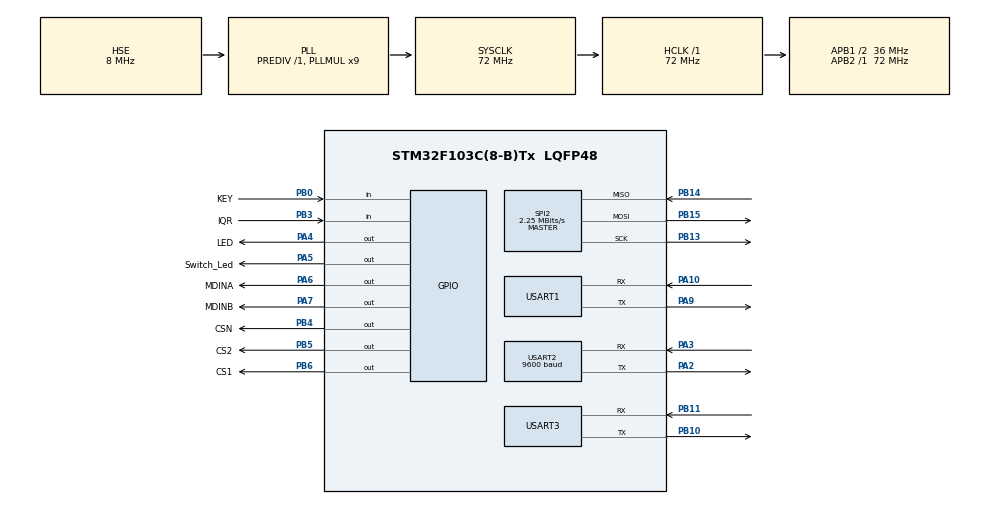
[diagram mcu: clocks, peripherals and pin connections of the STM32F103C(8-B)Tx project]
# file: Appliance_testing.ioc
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Dma.Request0=USART1_RX
Dma.USART1_RX.0.Direction=DMA_PERIPH_TO_MEMORY
Dma.USART1_RX.0.Instance=DMA1_Channel5
Dma.USART1_RX.0.MemDataAlignment=DMA_MDATAALIGN_BYTE
Dma.USART1_RX.0.MemInc=DMA_MINC_ENABLE
Dma.USART1_RX.0.Mode=DMA_NORMAL
Dma.USART1_RX.0.PeriphDataAlignment=DMA_PDATAALIGN_BYTE
Dma.USART1_RX.0.PeriphInc=DMA_PINC_DISABLE
Dma.USART1_RX.0.Priority=DMA_PRIORITY_LOW
FREERTOS.Events01=myEvent01,Dynamic,NULL
FREERTOS.INCLUDE_xEventGroupSetBitFromISR=1
FREERTOS.Mutexes01=SPIMutex,Dynamic,NULL
FREERTOS.Queues01=HLW8110_Data,5,float,0,Dynamic,NULL,NULL;IDQueue,1,int8_t,0,Dynamic,NULL,NULL;Clear_ID,1,int8_t,0,Dynamic,NULL,NULL;Wifi_Data,1,char*,0,Dynamic,NULL,NULL;TimeingQueue,16,uint16_t,0,Dynamic,NULL,NULL
FREERTOS.Tasks01=TestTask,24,704,Test_Task,Default,NULL,Dynamic,NULL,NULL;ReadHLW8110Task,10,192,Read_HLW8110_Task,Default,NULL,Dynamic,NULL,NULL;DetectionTask,8,192,Detection_Task,Default,NULL,Dynamic,NULL,NULL;StudyTask,16,256,Study_Task,Default,NULL,Dynamic,NULL,NULL;NRFRaedTask,23,300,NRF_Raed_Task,Default,NULL,Dynamic,NULL,NULL;WifiTask,30,300,Wifi_Task,Default,NULL,Dynamic,NULL,NULL
FREERTOS.Timers01=Timer01,Timer_1ms,osTimerPeriodic,Default,NULL,Dynamic,NULL;Timing_Timer,Timing_Con,osTimerOnce,Default,NULL,Dynamic,NULL
FREERTOS.configMINIMAL_STACK_SIZE=64
FREERTOS.configTIMER_TASK_PRIORITY=55
FREERTOS.configTIMER_TASK_STACK_DEPTH=256
FREERTOS.configTOTAL_HEAP_SIZE=11264
FREERTOS.configUSE_STATS_FORMATTING_FUNCTIONS=1
Mcu.Family=STM32F1
Mcu.Name=STM32F103C(8-B)Tx
Mcu.Package=LQFP48
NVIC.DMA1_Channel5_IRQn=true\:5\:0\:false\:false\:true\:true\:false\:true\:true
NVIC.PriorityGroup=NVIC_PRIORITYGROUP_4
NVIC.TIM4_IRQn=true\:15\:0\:false\:false\:true\:false\:false\:true\:true
NVIC.TimeBase=TIM4_IRQn
NVIC.TimeBaseIP=TIM4
NVIC.USART1_IRQn=true\:5\:0\:false\:false\:true\:true\:true\:true\:true
NVIC.USART2_IRQn=true\:5\:0\:false\:false\:true\:true\:true\:true\:true
NVIC.USART3_IRQn=true\:5\:0\:false\:false\:true\:true\:true\:true\:true
PA10.Mode=Asynchronous
PA10.Signal=USART1_RX
PA13.Mode=Serial_Wire
PA13.Signal=SYS_JTMS-SWDIO
PA14.Mode=Serial_Wire
PA14.Signal=SYS_JTCK-SWCLK
PA2.Mode=Asynchronous
PA2.Signal=USART2_TX
PA3.Mode=Asynchronous
PA3.Signal=USART2_RX
PA4.GPIO_Label=LED
PA4.PinState=GPIO_PIN_SET
PA4.Signal=GPIO_Output
PA5.GPIO_Label=Switch_Led
PA5.GPIO_Speed=GPIO_SPEED_FREQ_HIGH
PA5.PinState=GPIO_PIN_SET
PA5.Signal=GPIO_Output
PA6.GPIO_Label=MDINA
PA6.GPIO_Speed=GPIO_SPEED_FREQ_HIGH
PA6.Signal=GPIO_Output
PA7.GPIO_Label=MDINB
PA7.GPIO_Speed=GPIO_SPEED_FREQ_HIGH
PA7.Signal=GPIO_Output
PA9.Mode=Asynchronous
PA9.Signal=USART1_TX
PB0.GPIO_Label=KEY
PB0.GPIO_PuPd=GPIO_PULLUP
PB0.Signal=GPIO_Input
PB10.Mode=Asynchronous
PB10.Signal=USART3_TX
PB11.Mode=Asynchronous
PB11.Signal=USART3_RX
PB13.Mode=Full_Duplex_Master
PB13.Signal=SPI2_SCK
PB14.Mode=Full_Duplex_Master
PB14.Signal=SPI2_MISO
PB15.Mode=Full_Duplex_Master
PB15.Signal=SPI2_MOSI
PB3.GPIO_Label=IQR
PB3.Signal=GPIO_Input
PB4.GPIO_Label=CSN
PB4.GPIO_Speed=GPIO_SPEED_FREQ_LOW
PB4.PinState=GPIO_PIN_SET
PB4.Signal=GPIO_Output
PB5.GPIO_Label=CS2
PB5.GPIO_PuPd=GPIO_NOPULL
PB5.PinState=GPIO_PIN_SET
PB5.Signal=GPIO_Output
PB6.GPIO_Label=CS1
PB6.PinState=GPIO_PIN_SET
PB6.Signal=GPIO_Output
PD0-OSC_IN.Mode=HSE-External-Oscillator
PD0-OSC_IN.Signal=RCC_OSC_IN
PD1-OSC_OUT.Mode=HSE-External-Oscillator
PD1-OSC_OUT.Signal=RCC_OSC_OUT
ProjectManager.HeapSize=0x200
ProjectManager.StackSize=0x400
ProjectManager.TargetToolchain=MDK-ARM V5.32
RCC.AHBFreq_Value=72000000
RCC.APB1CLKDivider=RCC_HCLK_DIV2
RCC.APB1Freq_Value=36000000
RCC.APB1TimFreq_Value=72000000
RCC.APB2Freq_Value=72000000
RCC.APB2TimFreq_Value=72000000
RCC.HCLKFreq_Value=72000000
RCC.PLLMUL=RCC_PLL_MUL9
RCC.PLLSourceVirtual=RCC_PLLSOURCE_HSE
RCC.SYSCLKFreq_VALUE=72000000
RCC.SYSCLKSource=RCC_SYSCLKSOURCE_PLLCLK
RCC.USBFreq_Value=72000000
SPI2.BaudRatePrescaler=SPI_BAUDRATEPRESCALER_16
SPI2.CalculateBaudRate=2.25 MBits/s
SPI2.Direction=SPI_DIRECTION_2LINES
SPI2.Mode=SPI_MODE_MASTER
SPI2.VirtualType=VM_MASTER
USART1.VirtualMode=VM_ASYNC
USART2.BaudRate=9600
USART2.Parity=PARITY_EVEN
USART2.VirtualMode=VM_ASYNC
USART2.WordLength=WORDLENGTH_9B
USART3.VirtualMode=VM_ASYNC
VP_FREERTOS_VS_CMSIS_V2.Mode=CMSIS_V2
VP_SYS_VS_tim4.Mode=TIM4
board=custom

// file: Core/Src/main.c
/* USER CODE BEGIN Header */
/**
  ******************************************************************************
  * @file           : main.c
  * @brief          : Main program body
  ******************************************************************************
  * @attention
  *
  * Copyright (c) 2024 STMicroelectronics.
  * All rights reserved.
  *
  * This software is licensed under terms that can be found in the LICENSE file
  * in the root directory of this software component.
  * If no LICENSE file comes with this software, it is provided AS-IS.
  *
  ******************************************************************************
  */
/* USER CODE END Header */
#include "main.h"
#include "cmsis_os.h"
#include "dma.h"
#include "spi.h"
#include "usart.h"
#include "gpio.h"

/* USER CODE BEGIN Includes */
#include "HLW8110.h"
#include "debug_usart.h"
#include "APP.h"
#include "stdio.h"
#include "Switch.h"
#include "Key.h"
#include "24L01.h"
#include "esp8266.h"
#include "w25qxx.h"
/* USER CODE END Includes */

void SystemClock_Config(void);
void MX_FREERTOS_Init(void);

int main(void)
{

  /* USER CODE BEGIN 1 */
	uint8_t MID;
	uint16_t DID;
  /* USER CODE END 1 */

  /* MCU Configuration--------------------------------------------------------*/

  /* Reset of all peripherals, Initializes the Flash interface and the Systick. */
  HAL_Init();

  /* Configure the system clock */
  SystemClock_Config();

  /* Initialize all configured peripherals */
  MX_GPIO_Init();
  MX_DMA_Init();
  MX_USART1_UART_Init();
  MX_USART2_UART_Init();
  MX_SPI2_Init();
  MX_USART3_UART_Init();
  /* USER CODE BEGIN 2 */
	Debug_Usart_Struct.Init(Usart_Debug_Run);
	while(HLW8110_Init() != HLW8110_OK){
		printf("HLW8110 Init err\r\n");
		HLW8110_Reset();
		HAL_Delay(500);
	}
	printf("HLW8110 Init ok\r\n");
	__HAL_RCC_AFIO_CLK_ENABLE();
	__HAL_AFIO_REMAP_SWJ_NOJTAG(); //禁用JTAG
	NRF24L01_Init();
	while(NRF24L01_Check()){
			HAL_Delay(500);
			printf("2.4G Init err\r\n");
	}
	NRF24L01_RX_Mode();
	printf("2.4G Init ok\r\n");
	W25Q64_ReadID(&MID,&DID);
	printf("MID:%d\tDID:%d\r\nW25Q64 Init ok\r\n",MID,DID);
	Read_W25Q();
//	Write_W25Q();
	Switch_Struct.Init();
	LED_Struct.Set_Mode(LED_OFF);
  button_init(&btn1, read_button1_GPIO, 0);
  button_attach(&btn1, SINGLE_CLICK,BTN1_SINGLE_Click_Handler);
	button_attach(&btn1, DOUBLE_CLICK,BTN1_DOUBLE_Click_Handler);
  button_start(&btn1);
  printf("初始化成功\r\n");
  /* USER CODE END 2 */

  /* Init scheduler */
  osKernelInitialize();

  /* Call init function for freertos objects (in cmsis_os2.c) */
  MX_FREERTOS_Init();

  /* Start scheduler */
  osKernelStart();

  /* We should never get here as control is now taken by the scheduler */

  /* Infinite loop */
  while (1)
  {

  }
}

void SystemClock_Config(void)
{
  RCC_OscInitTypeDef RCC_OscInitStruct = {0};
  RCC_ClkInitTypeDef RCC_ClkInitStruct = {0};

  /** Initializes the RCC Oscillators according to the specified parameters
  * in the RCC_OscInitTypeDef structure.
  */
  RCC_OscInitStruct.OscillatorType = RCC_OSCILLATORTYPE_HSE;
  RCC_OscInitStruct.HSEState = RCC_HSE_ON;
  RCC_OscInitStruct.HSEPredivValue = RCC_HSE_PREDIV_DIV1;
  RCC_OscInitStruct.HSIState = RCC_HSI_ON;
  RCC_OscInitStruct.PLL.PLLState = RCC_PLL_ON;
  RCC_OscInitStruct.PLL.PLLSource = RCC_PLLSOURCE_HSE;
  RCC_OscInitStruct.PLL.PLLMUL = RCC_PLL_MUL9;
  if (HAL_RCC_OscConfig(&RCC_OscInitStruct) != HAL_OK)
  {
    Error_Handler();
  }

  /** Initializes the CPU, AHB and APB buses clocks
  */
  RCC_ClkInitStruct.ClockType = RCC_CLOCKTYPE_HCLK|RCC_CLOCKTYPE_SYSCLK
                              |RCC_CLOCKTYPE_PCLK1|RCC_CLOCKTYPE_PCLK2;
  RCC_ClkInitStruct.SYSCLKSource = RCC_SYSCLKSOURCE_PLLCLK;
  RCC_ClkInitStruct.AHBCLKDivider = RCC_SYSCLK_DIV1;
  RCC_ClkInitStruct.APB1CLKDivider = RCC_HCLK_DIV2;
  RCC_ClkInitStruct.APB2CLKDivider = RCC_HCLK_DIV1;

  if (HAL_RCC_ClockConfig(&RCC_ClkInitStruct, FLASH_LATENCY_2) != HAL_OK)
  {
    Error_Handler();
  }
}

void HAL_TIM_PeriodElapsedCallback(TIM_HandleTypeDef *htim)
{
  if (htim->Instance == TIM4) {
    HAL_IncTick();
  }
}

void Error_Handler(void)
{
  __disable_irq();
  while (1)
  {
  }
}

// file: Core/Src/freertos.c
/* USER CODE BEGIN Header */
/**
  ******************************************************************************
  * File Name          : freertos.c
  * Description        : Code for freertos applications
  ******************************************************************************
  * @attention
  *
  * Copyright (c) 2024 STMicroelectronics.
  * All rights reserved.
  *
  * This software is licensed under terms that can be found in the LICENSE file
  * in the root directory of this software component.
  * If no LICENSE file comes with this software, it is provided AS-IS.
  *
  ******************************************************************************
  */
/* USER CODE END Header */

#include "FreeRTOS.h"
#include "task.h"
#include "main.h"
#include "cmsis_os.h"

/* USER CODE BEGIN Includes */
#include "KNN.h"
#include "HLW8110.h"
#include "APP.h"
#include "Key.h"
#include "24L01.h"
/* USER CODE END Includes */

/* USER CODE BEGIN PTD */
/*	./Keil5_disp_size_bar_v0.3.exe	*/
/* USER CODE END PTD */

/* Definitions for TestTask */
osThreadId_t TestTaskHandle;
const osThreadAttr_t TestTask_attributes = {
  .name = "TestTask",
  .stack_size = 704 * 4,
  .priority = (osPriority_t) osPriorityNormal,
};
/* Definitions for ReadHLW8110Task */
osThreadId_t ReadHLW8110TaskHandle;
const osThreadAttr_t ReadHLW8110Task_attributes = {
  .name = "ReadHLW8110Task",
  .stack_size = 192 * 4,
  .priority = (osPriority_t) osPriorityLow2,
};
/* Definitions for DetectionTask */
osThreadId_t DetectionTaskHandle;
const osThreadAttr_t DetectionTask_attributes = {
  .name = "DetectionTask",
  .stack_size = 192 * 4,
  .priority = (osPriority_t) osPriorityLow,
};
/* Definitions for StudyTask */
osThreadId_t StudyTaskHandle;
const osThreadAttr_t StudyTask_attributes = {
  .name = "StudyTask",
  .stack_size = 256 * 4,
  .priority = (osPriority_t) osPriorityBelowNormal,
};
/* Definitions for NRFRaedTask */
osThreadId_t NRFRaedTaskHandle;
const osThreadAttr_t NRFRaedTask_attributes = {
  .name = "NRFRaedTask",
  .stack_size = 300 * 4,
  .priority = (osPriority_t) osPriorityBelowNormal7,
};
/* Definitions for WifiTask */
osThreadId_t WifiTaskHandle;
const osThreadAttr_t WifiTask_attributes = {
  .name = "WifiTask",
  .stack_size = 300 * 4,
  .priority = (osPriority_t) osPriorityNormal6,
};
/* Definitions for HLW8110_Data */
osMessageQueueId_t HLW8110_DataHandle;
const osMessageQueueAttr_t HLW8110_Data_attributes = {
  .name = "HLW8110_Data"
};
/* Definitions for IDQueue */
osMessageQueueId_t IDQueueHandle;
const osMessageQueueAttr_t IDQueue_attributes = {
  .name = "IDQueue"
};
/* Definitions for Clear_ID */
osMessageQueueId_t Clear_IDHandle;
const osMessageQueueAttr_t Clear_ID_attributes = {
  .name = "Clear_ID"
};
/* Definitions for Wifi_Data */
osMessageQueueId_t Wifi_DataHandle;
const osMessageQueueAttr_t Wifi_Data_attributes = {
  .name = "Wifi_Data"
};
/* Definitions for TimeingQueue */
osMessageQueueId_t TimeingQueueHandle;
const osMessageQueueAttr_t TimeingQueue_attributes = {
  .name = "TimeingQueue"
};
/* Definitions for Timer01 */
osTimerId_t Timer01Handle;
const osTimerAttr_t Timer01_attributes = {
  .name = "Timer01"
};
/* Definitions for Timing_Timer */
osTimerId_t Timing_TimerHandle;
const osTimerAttr_t Timing_Timer_attributes = {
  .name = "Timing_Timer"
};
/* Definitions for SPIMutex */
osMutexId_t SPIMutexHandle;
const osMutexAttr_t SPIMutex_attributes = {
  .name = "SPIMutex"
};
/* Definitions for myEvent01 */
osEventFlagsId_t myEvent01Handle;
const osEventFlagsAttr_t myEvent01_attributes = {
  .name = "myEvent01"
};

/* USER CODE BEGIN FunctionPrototypes */
void vApplicationStackOverflowHook( TaskHandle_t xTask, char *pcTaskName )
{
    // 记录发生堆栈溢出的任务名
    printf("Stack overflow in task: %s\n", pcTaskName);

    // 进入死循环，停止调度器
    taskDISABLE_INTERRUPTS();
    for( ;; );
}

/* USER CODE END FunctionPrototypes */

void Test_Task(void *argument);
void Read_HLW8110_Task(void *argument);
void Detection_Task(void *argument);
void Study_Task(void *argument);
void NRF_Raed_Task(void *argument);
void Wifi_Task(void *argument);
void Timer_1ms(void *argument);
void Timing_Con(void *argument);

void MX_FREERTOS_Init(void); /* (MISRA C 2004 rule 8.1) */

void MX_FREERTOS_Init(void) {
  /* Create the mutex(es) */
  /* creation of SPIMutex */
  SPIMutexHandle = osMutexNew(&SPIMutex_attributes);

  /* Create the timer(s) */
  /* creation of Timer01 */
  Timer01Handle = osTimerNew(Timer_1ms, osTimerPeriodic, NULL, &Timer01_attributes);

  /* creation of Timing_Timer */
  Timing_TimerHandle = osTimerNew(Timing_Con, osTimerOnce, NULL, &Timing_Timer_attributes);

  /* USER CODE BEGIN RTOS_TIMERS */
  /* start timers, add new ones, ... */
	osTimerStart(Timer01Handle,1);
  /* USER CODE END RTOS_TIMERS */

  /* Create the queue(s) */
  /* creation of HLW8110_Data */
  HLW8110_DataHandle = osMessageQueueNew (5, sizeof(float), &HLW8110_Data_attributes);

  /* creation of IDQueue */
  IDQueueHandle = osMessageQueueNew (1, sizeof(int8_t), &IDQueue_attributes);

  /* creation of Clear_ID */
  Clear_IDHandle = osMessageQueueNew (1, sizeof(int8_t), &Clear_ID_attributes);

  /* creation of Wifi_Data */
  Wifi_DataHandle = osMessageQueueNew (1, sizeof(char*), &Wifi_Data_attributes);

  /* creation of TimeingQueue */
  TimeingQueueHandle = osMessageQueueNew (16, sizeof(uint16_t), &TimeingQueue_attributes);

  /* Create the thread(s) */
  /* creation of TestTask */
  TestTaskHandle = osThreadNew(Test_Task, NULL, &TestTask_attributes);

  /* creation of ReadHLW8110Task */
  ReadHLW8110TaskHandle = osThreadNew(Read_HLW8110_Task, NULL, &ReadHLW8110Task_attributes);

  /* creation of DetectionTask */
  DetectionTaskHandle = osThreadNew(Detection_Task, NULL, &DetectionTask_attributes);

  /* creation of StudyTask */
  StudyTaskHandle = osThreadNew(Study_Task, NULL, &StudyTask_attributes);

  /* creation of NRFRaedTask */
  NRFRaedTaskHandle = osThreadNew(NRF_Raed_Task, NULL, &NRFRaedTask_attributes);

  /* creation of WifiTask */
  WifiTaskHandle = osThreadNew(Wifi_Task, NULL, &WifiTask_attributes);

  /* creation of myEvent01 */
  myEvent01Handle = osEventFlagsNew(&myEvent01_attributes);

  /* USER CODE BEGIN RTOS_EVENTS */
  /* add events, ... */
	vTaskSuspend(StudyTaskHandle);
  /* USER CODE END RTOS_EVENTS */

}

void Test_Task(void *argument)
{
  /* USER CODE BEGIN Test_Task */
	char InfoBuffer[1024];
	uint32_t r_event;
	osStatus_t err = osError;
	int8_t id = -1;
  /* Infinite loop */
  for(;;)
  {
	  r_event = osEventFlagsWait(myEvent01Handle,             /* 事件对象句柄 */
                              PRINT_LIST_EVEN | ENTER_STUDY_EVEN | QUIT_STUDY_EVEN | WRITE_W25Q64_EVEN | POWER_DOWN_EVEN | SWITCH_TOGGLE_EVEN
															| WIFI_REST_EVEN | TIME_OUT_EVEN | TIME_START_EVEN,    /* 接收任务感兴趣的事件 */
                              osFlagsWaitAny,           /* 退出时清除事件位，同时满足感兴趣的所有事件 */
                              osWaitForever);           /* 指定超时事件,一直等 */

		if((r_event & PRINT_LIST_EVEN) == PRINT_LIST_EVEN){//检测任务状态
			vTaskList(InfoBuffer);
			printf("=================================================\r\n");
			printf("任务名        任务状态 优先级  剩余栈  任务号 \r\n");
			printf("=================================================\r\n");
			printf("%s\r\n", InfoBuffer);
			printf("  B：阻塞  R：就绪  D：删除  S：暂停  X：运行 \r\n");
			printf("=================================================\r\n");
			printf("=================================================\r\n");
		}
		else if((r_event & ENTER_STUDY_EVEN) == ENTER_STUDY_EVEN){//进入学习模式
			osMessageQueueGet(IDQueueHandle,&id,0,0);//进入学习模式之前获取走缓冲区的id
			vTaskSuspend(DetectionTaskHandle);
			vTaskResume(StudyTaskHandle);
		}
		else if((r_event & QUIT_STUDY_EVEN) == QUIT_STUDY_EVEN){//退出学习模式
			vTaskSuspend(StudyTaskHandle);
			vTaskResume(DetectionTaskHandle);
		}
		else if((r_event & WRITE_W25Q64_EVEN) == WRITE_W25Q64_EVEN){//数据保存
				err = osMutexAcquire(SPIMutexHandle,2000);//获取互斥锁
				if(err == osOK){
					Write_W25Q();//内容存储
					osMutexRelease(SPIMutexHandle);//释放互斥锁
				}
				else{
					printf("Test_Task Get Mutex SPI Err:%d\r\n",err);
				}
		}
		else if((r_event & POWER_DOWN_EVEN) == POWER_DOWN_EVEN){//断电结束
				err = osMutexAcquire(SPIMutexHandle,2000);//获取互斥锁
				if(err == osOK){
					Write_W25Q();//内容存储
					vTaskSuspend(DetectionTaskHandle);
					vTaskSuspend(StudyTaskHandle);
					vTaskSuspend(NRFRaedTaskHandle);
					vTaskSuspend(ReadHLW8110TaskHandle);
					vTaskSuspend(WifiTaskHandle);
					LED_Struct.Set_Mode(LED_OFF);
					osMutexRelease(SPIMutexHandle);//释放互斥锁
					printf("RUN STOP!!!\r\n");
					NRF_LowPower_Mode();
					HAL_PWR_EnterSTANDBYMode();
				}
				else{
					printf("Test_Task Get Mutex SPI Err:%d\r\n",err);
				}
		}
		else if((r_event & SWITCH_TOGGLE_EVEN) == SWITCH_TOGGLE_EVEN){//按键切换
				err = osMutexAcquire(SPIMutexHandle,2000);//获取互斥锁
				if(err == osOK){
					Switch_Struct.Set(!Switch_Struct.Get());
					osMutexRelease(SPIMutexHandle);//释放互斥锁
				}
				else{
					printf("Test_Task Get Mutex SPI Err:%d\r\n",err);
				}
		}
		else if((r_event & WIFI_REST_EVEN) == WIFI_REST_EVEN){//WIFI重启
			osThreadTerminate(WifiTaskHandle);
			WifiTaskHandle = NULL;
			WifiTaskHandle = osThreadNew(Wifi_Task, NULL, &WifiTask_attributes);
		}
		else if((r_event & TIME_START_EVEN) == TIME_START_EVEN){//定时开始
				err = osMutexAcquire(SPIMutexHandle,2000);//获取互斥锁
				if(err == osOK){
					uint16_t time = 0;
					if(osMessageQueueGet(TimeingQueueHandle,&time,0,10) == osOK){
						Switch_Struct.Set(ON);
						if(osTimerIsRunning(Timing_TimerHandle) == 0){
							osTimerStart(Timing_TimerHandle,1000 * time);
						}
						else{
							osTimerStop(Timing_TimerHandle);
							osTimerStart(Timing_TimerHandle,1000 * time);
						}
					}
					else{

					}
					osMutexRelease(SPIMutexHandle);//释放互斥锁
				}
				else{
					printf("Test_Task Get Mutex SPI Err:%d\r\n",err);
				}
		}
		else if((r_event & TIME_OUT_EVEN) == TIME_OUT_EVEN){//定时时间到
				err = osMutexAcquire(SPIMutexHandle,2000);//获取互斥锁
				if(err == osOK){
					printf("time out\r\n");
					Switch_Struct.Set(OFF);
					osMutexRelease(SPIMutexHandle);//释放互斥锁
				}
				else{
					printf("Test_Task Get Mutex SPI Err:%d\r\n",err);
				}
		}
    osDelay(10);
  }
  /* USER CODE END Test_Task */
}

void Read_HLW8110_Task(void *argument)
{
  /* USER CODE BEGIN Read_HLW8110_Task */
	float data[READ_DATA_NUM];
	uint32_t count = 0;
	osStatus_t err = osOK;
  /* Infinite loop */
  for(;;)
  {
		if(count % READ_DATA_TIME == 0){//两秒发送一次
			if(Read_HLW8110_Electrical(data) == OK){//读取电参数成功
				for(uint8_t i = U;i <= EA;i++){//从电压到电能进行发送
					err = osMessageQueuePut(HLW8110_DataHandle,(float*)(&data[i]),0,100);
					if(err != osOK){//发送失败输出错误信息
						printf("Read_HLW8110_Task Send Queue HLW8110 Data ERR:%d\r\n",err);
					}
				}
			}
			else{//未读到电参数
				err = osMessageQueuePut(HLW8110_DataHandle,(float*)(&data[U]),0,100);
				if(err != osOK){//发送失败输出错误信息
					printf("Read_HLW8110_Task Send Queue HLW8110 Data ERR:%d\r\n",err);
				}
				for(uint8_t i = I;i < EA;i++){//从电压到电能进行发送
					data[i] = 0;
					err = osMessageQueuePut(HLW8110_DataHandle,(float*)(&data[i]),0,100);
					if(err != osOK){//发送失败输出错误信息
						printf("Read_HLW8110_Task Send Queue HLW8110 Data ERR:%d\r\n",err);
					}
				}
				err = osMessageQueuePut(HLW8110_DataHandle,(float*)(&data[EA]),0,100);
				if(err != osOK){//发送失败输出错误信息
					printf("Read_HLW8110_Task Send Queue HLW8110 Data ERR:%d\r\n",err);
				}
			}
		}
		else{
			Read_HLW8110_Electrical(data);
		}
		count++;
    osDelay(1);
  }
  /* USER CODE END Read_HLW8110_Task */
}

void Detection_Task(void *argument)
{
  /* USER CODE BEGIN Detection_Task */
	uint8_t queue_num;
	osStatus_t err = osError;
	float data[READ_DATA_NUM];
	int8_t id = -1;
	uint8_t NRF_TX_Data[TX_PLOAD_WIDTH];
  /* Infinite loop */
  for(;;)
  {
		queue_num = osMessageQueueGetCount(HLW8110_DataHandle);
		if(queue_num == READ_DATA_NUM){//队列写入完毕进行获取电参数
			for(uint8_t i = 0;i < READ_DATA_NUM;i++){
				err = osMessageQueueGet(HLW8110_DataHandle,(float*)(&data[i]),0,10);
				if(err != osOK){
					printf("Detection_Task Get Queue HLW8110 Data Err:%d\r\n",err);
				}
			}
			id = predict(&data[I],NUM_FEATURES);//进行电器匹配从电流开始
			Wifi_Send(data,id);
			err = osMutexAcquire(SPIMutexHandle,10);//获取互斥锁
			if(err == osOK){
				Printf_parameter(data);//电参数信息输出
				NRF24L01_TX_Mode();
				sprintf((char*)NRF_TX_Data,"ID:%d",id);//ID
				NRF24L01_TxPacket(NRF_TX_Data);
				NRF24L01_RX_Mode();
				osMutexRelease(SPIMutexHandle);//释放互斥锁
			}
			else{
				printf("Detection_Task Get Mutex SPI Err:%d\r\n",err);
			}
		}
    osDelay(10);
  }
  /* USER CODE END Detection_Task */
}

void Study_Task(void *argument)
{
  /* USER CODE BEGIN Study_Task */
	int8_t id = -1;
	uint8_t queue_num;
	static uint8_t count = 0;
	float data[READ_DATA_NUM];
	osStatus_t err = osError;
  /* Infinite loop */
  for(;;)
  {
		if(id == -1){//没有ID的情况等待从机发送需要学习的ID
			while(err != osOK){
				queue_num = osMessageQueueGetCount(HLW8110_DataHandle);//获取队列中有的电参数
				for(uint8_t i = 0;i < queue_num;i++){//将缓冲区参数清空
					err = osMessageQueueGet(HLW8110_DataHandle,(float*)(&data[i]),0,0);
					if(err != osOK){
						printf("Study_Task Get Queue HLW8110 Data Err:%d\r\n",err);
					}
				}
				err = osMessageQueueGet(IDQueueHandle,&id,0,1500);//获取需要学习的ID.
			}
			printf("study_task id :%d\r\n",id);
		}
		queue_num = osMessageQueueGetCount(HLW8110_DataHandle);//获取电参数
		if(queue_num == READ_DATA_NUM && id != -1){
			for(uint8_t i = 0;i < READ_DATA_NUM;i++){
				err = osMessageQueueGet(HLW8110_DataHandle,(float*)(&data[i]),0,0);
				if(err != osOK){
					printf("Study_Task Get Queue HLW8110 Data Err:%d\r\n",err);
				}
			}
			//Printf_parameter(data);//电参数输出
			if(data[PA] >= PA_MIN){//记录有效功率
				for(uint8_t i = 0;i < NUM_FEATURES;i++){//将电参数放进匹配数据库
					X_train[count + (id * NUM_FEATURES)][i] = data[i+1];
					printf("X_train[%d][%d]%f\r\n",count + (id * NUM_FEATURES),i,X_train[count + (id * NUM_FEATURES)][i]);
				}
				count++;//记录保存了几组数据
				if(count >= NUM_SAMPLES / NUM_CLASS){
					id = -1;
					count = 0;
					err = osMutexAcquire(SPIMutexHandle,osWaitForever);//获取互斥锁
					if(err == osOK){
						osEventFlagsSet(myEvent01Handle, WRITE_W25Q64_EVEN);//内容存储
						while(NRF_Send((uint8_t*)"study ok",10) != 1){osDelay(10);}//发送学习完成
						osMutexRelease(SPIMutexHandle);//释放互斥锁
						err = osError;
					}
					else{
						printf("Study_Task Get Mutex SPI Err:%d\r\n",err);
					}
				}
			}
			else{
				printf("PA min err\r\n");
			}
		}
    osDelay(10);
  }
  /* USER CODE END Study_Task */
}

void NRF_Raed_Task(void *argument)
{
  /* USER CODE BEGIN NRF_Raed_Task */
	uint8_t NRF_RX_Data[RX_PLOAD_WIDTH];
	osStatus_t err = osError;
  /* Infinite loop */
  for(;;)
  {
		err = osMutexAcquire(SPIMutexHandle,1000);//获取互斥锁
		if(err == osOK){
			if(NRF24L01_RxPacket(NRF_RX_Data) == 0){
				printf("NRF_RX_Data = %s\r\n",NRF_RX_Data);
				Infor_analysis((char*)NRF_RX_Data);
				memset(NRF_RX_Data,0,sizeof(NRF_RX_Data));
			}
			osMutexRelease(SPIMutexHandle);//释放互斥锁
		}
		else{
			printf("NRF_Raed_Task Get Mutex SPI Err:%d\r\n",err);
		}
    osDelay(10);
  }
  /* USER CODE END NRF_Raed_Task */
}

void Wifi_Task(void *argument)
{
  /* USER CODE BEGIN Wifi_Task */
	LED_Struct.Set_Mode(LED_Blink);
	LED_Struct.Set_Blink(400);
	ESP8266_Struct.Init();
	LED_Struct.Set_Mode(LED_ON);
	uint8_t ping_count = 0,time_out = 0;
	uint16_t send_count = 0;
	osStatus_t err = osError;
	unsigned char* read_data = NULL;
	char* send_data = pvPortMalloc(256);
  /* Infinite loop */
  for(;;)
  {
		ping_count++;//ping计数
		read_data = ESP8266_Struct.Read_Data(0);//读取WIFI接收的数据
		if(read_data != NULL){//读取成功进行解析
			err = osMutexAcquire(SPIMutexHandle,1000);//获取互斥锁
			if(err == osOK){
				printf("read_data = %s\r\n",read_data);
				extract_data((char*)read_data);//进行WIFI数据解析
				read_data = NULL;
				osMutexRelease(SPIMutexHandle);//释放互斥锁
			}
			else{
				printf("Wifi_Task Get Mutex SPI Err:%d\r\n",err);
			}
		}
		err = osMessageQueueGet(Wifi_DataHandle,&send_data,0,0);
		if(err == osOK){//数据上传
			send_count = 0;
			if(ESP8266_Struct.SendCmd(send_data, "cmd=2&res=1")){
				printf("send err\r\n");
				LED_Struct.Set_Mode(LED_OFF);
			}
			else{
				LED_Struct.Set_Mode(LED_ON);
			}
		}
		else{
			send_count++;
			if(send_count >= 500){//WIFI数据接受失败
				printf("Wifi_DataHandle Read Err:%d\r\n",err);
				err = osMessageQueueDelete(Wifi_DataHandle);//先删除队列
				if(err != osOK){//删除失败
					printf("Wifi_DataHandle Delete err:%d\r\n",err);
				}
				else{//删除成功
					printf("Wifi_DataHandle Delete ok\r\n");
				}
				Wifi_DataHandle = NULL;
				Wifi_DataHandle = osMessageQueueNew (1, sizeof(char*), &Wifi_Data_attributes);//创建队列
				if(Wifi_DataHandle != NULL){
					printf("Wifi_DataHandle New ok\r\n");
				}
				else{
					printf("Wifi_DataHandle New err\r\n");
				}
				send_count = 0;
			}
		}
		if(ping_count >= 100){//进行ping
			if(ESP8266_Struct.SendCmd("ping\r\n", "cmd=0&res=1")){
				printf("ping err\r\n");
				time_out++;
				//printf("sta = %d\r\n",ESP8266_GetCIPStatus());
				LED_Struct.Set_Mode(LED_OFF);
			}
			else{
				time_out = 0;
				ping_count = 0;
				LED_Struct.Set_Mode(LED_ON);
			}

		}
		if(time_out >= 5){

			osEventFlagsSet(myEvent01Handle, WIFI_REST_EVEN);//超时进行WIFI复位
		}
    osDelay(10);
  }
  /* USER CODE END Wifi_Task */
}

/* Timer_1ms function */
void Timer_1ms(void *argument)
{
  /* USER CODE BEGIN Timer_1ms */
	static uint8_t Count_Key = 0;
	Count_Key++;
	if(Count_Key >= 5){
		button_ticks();
		Count_Key = 0;
	}
	LED_Struct.Con();
	Switch_Struct.Con();
  /* USER CODE END Timer_1ms */
}

/* Timing_Con function */
void Timing_Con(void *argument)
{
  /* USER CODE BEGIN Timing_Con */
	osEventFlagsSet(myEvent01Handle, TIME_OUT_EVEN);
  /* USER CODE END Timing_Con */
}
